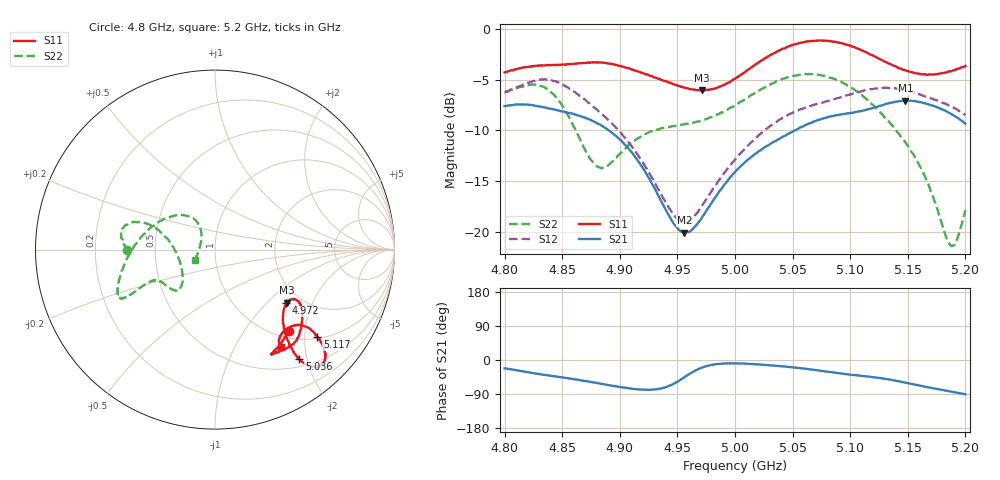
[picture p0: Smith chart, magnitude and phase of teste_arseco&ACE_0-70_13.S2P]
! Network Analyzer HP8722D
! Hewlett-Packard
! Data name: Linha & Wilkinson
! Saver's name: Rodrigo Anjos
! Comments: Teste da utilização de aquisição
! continua pelo VNA HP8722D
! Time and date: 8/5/2025 12:52
!  Frequency  S11  S21  S12  S22
# HZ  S  MA R 50
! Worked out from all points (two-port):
!   401 points, 4.8 GHz to 5.2 GHz, reference 50 ohm
!   highest |S21| = -7.06 dB at 5.148 GHz (marker M1); lowest = -20.0 dB at 4.956 GHz (marker M2)
!   |S21| within 3 dB of the highest: start of sweep to 4.891 GHz; 5.051 GHz to end of sweep
!   lowest |S11| = -6.1 dB at 4.971 GHz (marker M3), VSWR 2.98, Z = 84.2 - j66 ohm
!   |S11| at or under -10 dB: nowhere
!   |S22| runs from -21.4 to -4.4 dB; largest |S21 - S12| = 0.95
!   S11 on the Smith chart (normalised r, x): 4.8 GHz: 1.14, -1.64; 4.972 GHz: 1.66, -1.32; 5.036 GHz: 0.62, -1.87; 5.117 GHz: 1.04, -2.31; 5.2 GHz: 0.82, -1.57
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4.8e9  0.6102 -47.8  0.4162 -22.2  0.4859 -175.6  0.4895 -179.6
4.821e9  0.6494 -58.4  0.4216 -32.5  0.543 176.9  0.5276 171.7
4.836e9  0.662 -61.5  0.4095 -40.0  0.5628 168.4  0.5085 164.2
4.85e9  0.6659 -59.9  0.392 -45.9  0.534 159.2  0.4196 159.3
4.867e9  0.6768 -54.9  0.3704 -54.1  0.4593 150.8  0.2731 166.9
4.886e9  0.6803 -48.4  0.3297 -63.7  0.3734 144.2  0.2077 -158.0
4.909e9  0.6344 -40.5  0.2521 -75.2  0.2708 137.9  0.2724 -133.1
4.934e9  0.5676 -32.9  0.1488 -76.2  0.1612 141.4  0.3213 -135.2
4.956e9  0.5134 -32.6  0.09951 -45.6  0.1121 172.8  0.3387 -144.4
4.971e9  0.497 -36.4  0.1168 -20.5  0.1338 -162.1  0.3547 -150.2
4.972e9  0.4978 -37.0  0.12 -19.1  0.1366 -160.9  0.3553 -150.5
5e9  0.5687 -47.8  0.1974 -8.9  0.2275 -146.7  0.4209 -153.7
5.036e9  0.7709 -52.4  0.2826 -15.3  0.3488 -147.2  0.5523 -151.8
5.067e9  0.8703 -48.3  0.347 -25.3  0.4205 -154.3  0.5987 -154.9
5.094e9  0.8442 -43.1  0.3808 -36.6  0.4646 -161.8  0.5415 -165.5
5.117e9  0.7494 -40.4  0.4031 -44.2  0.5037 -172.3  0.4356 174.7
5.134e9  0.6738 -40.0  0.4315 -51.4  0.5111 177.4  0.3468 153.1
5.148e9  0.6248 -42.5  0.4436 -59.9  0.497 169.5  0.2755 136.1
5.166e9  0.5943 -48.4  0.428 -71.1  0.4633 161.2  0.182 122.8
5.186e9  0.6174 -54.4  0.3853 -82.5  0.4185 154.2  0.08769 154.5
5.192e9  0.631 -55.6  0.368 -85.9  0.4041 152.4  0.08969 -177.5
5.2e9  0.6559 -55.7  0.3414 -90.6  0.3761 149.7  0.1281 -151.9
